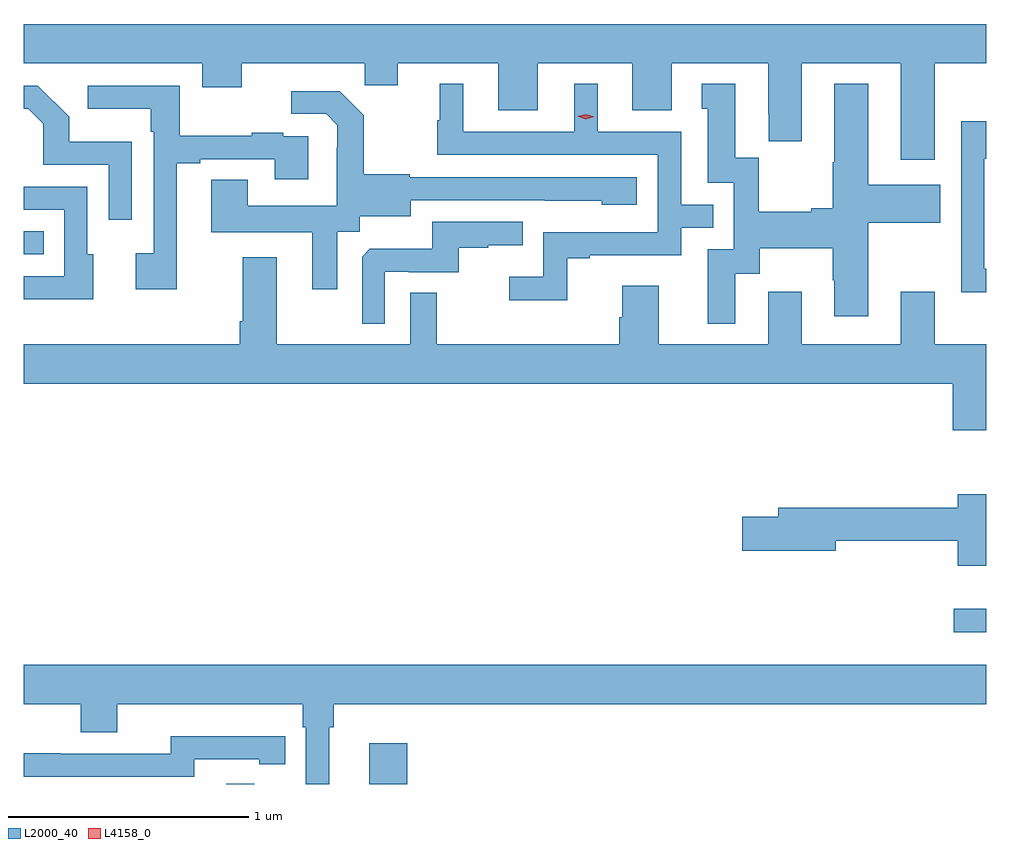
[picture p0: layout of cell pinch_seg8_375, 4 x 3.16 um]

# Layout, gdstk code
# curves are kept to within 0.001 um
import gdstk
lib = gdstk.Library(unit=1e-6, precision=1e-09)
def R(c, l, rs):  # rectangles x0, y0, x1, y1
    for r in rs: c.add(gdstk.rectangle(r[:2], r[2:], *l))
def P(c, l, *ps):  # polygons
    for p in ps: c.add(gdstk.Polygon(p, *l))
L2000_40 = (2000, 40)
L4158_0 = (4158, 0)

pinch_seg8_375 = lib.new_cell('pinch_seg8_375')
R(pinch_seg8_375, L2000_40, [(454.231,1094.856,454.349,1094.857), (454.826,1094.856,454.985,1095.025), (457.257,1095.488,457.391,1095.585), (453.391,1097.058,453.473,1097.154)])
P(pinch_seg8_375, L2000_40, [(457.177,1097.852),(457.391,1097.852),(457.391,1098.016),(453.391,1098.016),(453.391,1097.852),(454.133,1097.852),(454.133,1097.753),(454.297,1097.753),(454.297,1097.852),(454.807,1097.852),(454.807,1097.762),(454.945,1097.762),(454.945,1097.852),(455.363,1097.852),(455.363,1097.658),(455.527,1097.658),(455.527,1097.852),(455.921,1097.852),(455.921,1097.658),(456.085,1097.658),(456.085,1097.852),(456.485,1097.852),(456.485,1097.641),(456.488,1097.641),(456.488,1097.529),(456.625,1097.529),(456.625,1097.852),(457.037,1097.852),(457.037,1097.451),(457.177,1097.451)],
  [(455.649,1097.043),(455.743,1097.043),(455.743,1097.055),(456.123,1097.055),(456.123,1097.169),(456.257,1097.169),(456.257,1097.265),(456.123,1097.265),(456.123,1097.568),(455.776,1097.568),(455.776,1097.767),(455.678,1097.767),(455.678,1097.568),(455.218,1097.568),(455.218,1097.767),(455.12,1097.767),(455.12,1097.616),(455.109,1097.616),(455.109,1097.472),(456.027,1097.472),(456.027,1097.151),(455.55,1097.151),(455.55,1096.966),(455.409,1096.966),(455.409,1096.868),(455.649,1096.868)],
  [(456.349,1096.978),(456.451,1096.978),(456.451,1097.084),(456.754,1097.084),(456.754,1096.95),(456.761,1096.95),(456.761,1096.8),(456.901,1096.8),(456.901,1097.189),(457.201,1097.189),(457.201,1097.347),(456.901,1097.347),(456.901,1097.767),(456.761,1097.767),(456.761,1097.441),(456.754,1097.441),(456.754,1097.249),(456.665,1097.249),(456.665,1097.236),(456.447,1097.236),(456.447,1097.459),(456.349,1097.459),(456.349,1097.767),(456.209,1097.767),(456.209,1097.664),(456.233,1097.664),(456.233,1097.355),(456.342,1097.355),(456.342,1097.079),(456.233,1097.079),(456.233,1096.77),(456.349,1096.77)],
  [(454.027,1097.436),(454.123,1097.436),(454.123,1097.454),(454.433,1097.454),(454.433,1097.37),(454.573,1097.37),(454.573,1097.55),(454.469,1097.55),(454.469,1097.563),(454.337,1097.563),(454.337,1097.552),(454.039,1097.552),(454.039,1097.76),(453.657,1097.76),(453.657,1097.663),(453.918,1097.663),(453.918,1097.567),(453.93,1097.567),(453.93,1097.062),(453.855,1097.062),(453.855,1096.914),(454.027,1096.914)],
  [(453.84,1097.527),(453.579,1097.527),(453.579,1097.63),(453.448,1097.76),(453.391,1097.76),(453.391,1097.664),(453.408,1097.664),(453.471,1097.601),(453.471,1097.43),(453.744,1097.43),(453.744,1097.202),(453.84,1097.202)],
  [(454.693,1097.152),(454.788,1097.152),(454.788,1097.216),(454.999,1097.216),(454.999,1097.283),(455.793,1097.282),(455.793,1097.264),(455.938,1097.264),(455.938,1097.379),(454.995,1097.379),(454.995,1097.392),(454.803,1097.392),(454.803,1097.637),(454.703,1097.737),(454.503,1097.737),(454.503,1097.643),(454.647,1097.643),(454.694,1097.596),(454.694,1097.501),(454.692,1097.501),(454.692,1097.26),(454.321,1097.26),(454.321,1097.369),(454.169,1097.369),(454.169,1097.15),(454.589,1097.15),(454.589,1096.914),(454.693,1096.914)],
  [(457.391,1096.998),(457.383,1096.998),(457.383,1097.455),(457.391,1097.455),(457.391,1097.611),(457.287,1097.611),(457.287,1096.901),(457.391,1096.901)],
  [(453.679,1097.058),(453.654,1097.058),(453.654,1097.34),(453.391,1097.34),(453.391,1097.244),(453.558,1097.244),(453.558,1096.968),(453.391,1096.968),(453.391,1096.872),(453.461,1096.872),(453.461,1096.871),(453.679,1096.871)],
  [(454.89,1096.986),(454.99,1096.986),(454.99,1096.983),(455.198,1096.983),(455.198,1097.085),(455.321,1097.085),(455.321,1097.096),(455.465,1097.096),(455.465,1097.193),(455.088,1097.193),(455.088,1097.081),(454.829,1097.081),(454.797,1097.049),(454.797,1096.769),(454.89,1096.769)],
  [(457.391,1096.684),(457.177,1096.684),(457.177,1096.903),(457.037,1096.903),(457.037,1096.684),(456.625,1096.684),(456.625,1096.903),(456.485,1096.903),(456.485,1096.684),(456.031,1096.684),(456.031,1096.927),(455.879,1096.927),(455.879,1096.797),(455.867,1096.797),(455.867,1096.684),(455.107,1096.684),(455.107,1096.898),(454.998,1096.898),(454.998,1096.684),(454.441,1096.684),(454.441,1097.047),(454.301,1097.047),(454.301,1096.78),(454.289,1096.78),(454.289,1096.684),(453.391,1096.684),(453.391,1096.52),(457.253,1096.52),(457.253,1096.326),(457.391,1096.326)],
  [(457.391,1096.06),(457.274,1096.06),(457.274,1096.004),(456.527,1096.004),(456.527,1095.968),(456.378,1095.968),(456.378,1095.826),(456.766,1095.826),(456.766,1095.868),(457.274,1095.868),(457.274,1095.764),(457.391,1095.764)],
  [(454.66,1095.092),(454.679,1095.092),(454.679,1095.188),(457.391,1095.188),(457.391,1095.352),(453.391,1095.352),(453.391,1095.188),(453.626,1095.188),(453.626,1095.071),(453.778,1095.071),(453.778,1095.188),(454.55,1095.188),(454.55,1095.092),(454.563,1095.092),(454.563,1094.856),(454.66,1094.856)],
  [(454.098,1094.958),(454.37,1094.958),(454.37,1094.938),(454.478,1094.938),(454.478,1095.054),(454.37,1095.054),(454.37,1095.055),(454.002,1095.055),(454.002,1094.982),(453.542,1094.982),(453.542,1094.984),(453.391,1094.984),(453.391,1094.886),(454.098,1094.886)])
P(pinch_seg8_375, L4158_0, [(455.727,1097.621),(455.691,1097.632),(455.691,1097.632),(455.691,1097.632),(455.727,1097.641),(455.762,1097.63),(455.763,1097.63),(455.762,1097.63)])

lib.write_gds('pinch_seg8_375.gds')
